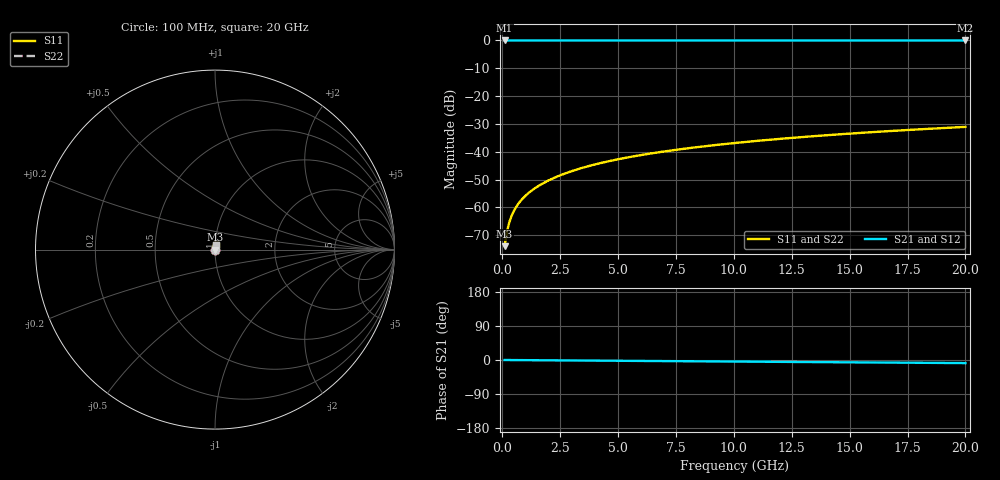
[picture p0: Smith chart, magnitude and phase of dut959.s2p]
! Touchstone file exported from HFSS 2026.1.0
!  File:  C:/ffzhzh/LocalFiles/Ansys_Project_Files/temp_train_TSV_959_1783187462_55132.aedt
!  Generated:  01:52:41 AM Jul  5, 2026
!  Design:  TSV
!  Project:  temp_train_TSV_959_1783187462_55132
! Variables:
!  h_bsmrdl = 2um
!  h_ox = 20um
!  h_rdl = 5um
!  h_sub = 75.44um
!  h_tmrdl = 5um
!  h_tsv = 75.44um
!  h_via = 3um
!  l_bsmrdl = 300um
!  l_sub = 423.36um
!  l_tmrdl = 200um
!  m_sub = 200um
!  pitch = 58.45um
!  r_tsv = 11.68um
!  s_tmrdl = 10um
!  w_bsmrdl = 18um
!  w_sub = 500um
!  w_tmrdl = 12um
!  x_tsv_center1 = 206um
!  x_tsv_center2 = 524um
!  x_tsv_center3 = 736um
!  x_tsv_center4 = 1054um
!  x_tsv_center5 = 1266um
!  x_tsv_center6 = 1584um
# GHz S MA R 50.000000
! Terminal data exported
! Port[1] = TSV1_1_T1
! Port[2] = TSV1_1_T2
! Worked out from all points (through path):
!   200 points, 100 MHz to 20 GHz, reference 50 ohm
!   highest |S21| = 0.00 dB at 100 MHz (marker M1); lowest = 0.0 dB at 20 GHz (marker M2)
!   group delay of S21, straight-line fit = 1.13 ps
!   lowest |S11| = -73.9 dB at 100 MHz (marker M3), VSWR 1.00, Z = 50 + j0.0178 ohm
!   |S11| at or under -10 dB: start of sweep to end of sweep
!   |S22| runs from -73.9 to -31.0 dB; largest |S21 - S12| = 3.2e-15
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0.1  0.0002019 62.1  0.9999 -0.0  0.9999 -0.0  0.0002019 62.1
! Gamma 0 0 0 0
! Port Impedance 50 0 50 0
0.2  0.0003698 73.4  0.9999 -0.1  0.9999 -0.1  0.0003698 73.4
0.3  0.0005398 76.9  0.9999 -0.1  0.9999 -0.1  0.0005398 76.9
0.4  0.0007063 78.3  0.9999 -0.2  0.9999 -0.2  0.0007063 78.3
0.5  0.0008682 79.1  0.9998 -0.2  0.9998 -0.2  0.0008682 79.1
0.6  0.001026 79.5  0.9998 -0.3  0.9998 -0.3  0.001026 79.5
0.7  0.001179 79.9  0.9998 -0.3  0.9998 -0.3  0.001179 79.9
0.9  0.001478 80.4  0.9998 -0.4  0.9998 -0.4  0.001478 80.4
1.1  0.00177 80.9  0.9997 -0.5  0.9997 -0.5  0.00177 80.9
1.3  0.002059 81.4  0.9997 -0.5  0.9997 -0.5  0.002059 81.4
1.6  0.00249 82.0  0.9997 -0.7  0.9997 -0.7  0.00249 82.0
1.9  0.002921 82.5  0.9997 -0.8  0.9997 -0.8  0.002921 82.5
2.6  0.003925 83.3  0.9996 -1.1  0.9996 -1.1  0.003925 83.3
3.5  0.005214 83.7  0.9995 -1.4  0.9995 -1.4  0.005214 83.7
4.2  0.006211 83.8  0.9995 -1.7  0.9995 -1.7  0.006211 83.8
5  0.007345 83.8  0.9994 -2.1  0.9994 -2.1  0.007345 83.8
6.8  0.009877 83.6  0.9993 -2.8  0.9993 -2.8  0.009877 83.6
8.3  0.01197 83.3  0.9992 -3.4  0.9992 -3.4  0.01197 83.3
10.1  0.01447 82.9  0.9991 -4.1  0.9991 -4.1  0.01447 82.9
13.4  0.01903 81.9  0.999 -5.5  0.999 -5.5  0.01903 81.9
16.7  0.02356 80.8  0.9988 -6.8  0.9988 -6.8  0.02356 80.8
20  0.02804 79.7  0.9985 -8.2  0.9985 -8.2  0.02804 79.7
